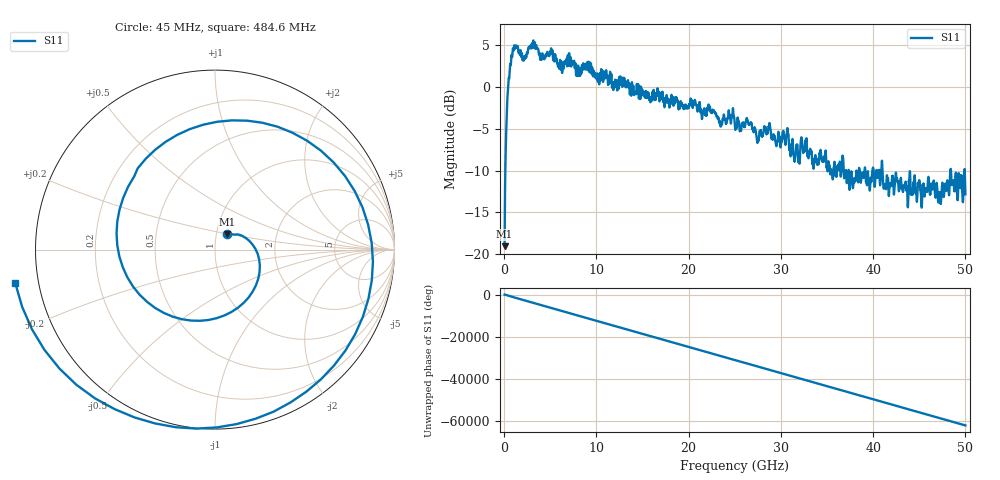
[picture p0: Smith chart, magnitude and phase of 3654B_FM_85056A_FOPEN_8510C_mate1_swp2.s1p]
!Created with skrf (http://scikit-rf.org).
# Hz S RI R 50.0
!freq ReS11 ImS11
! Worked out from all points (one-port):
!   10001 points, 45 MHz to 50 GHz, reference 50 ohm
!   lowest |S11| = -19.1 dB at 45 MHz (marker M1), VSWR 1.25, Z = 56.5 + j9.97 ohm
!   |S11| at or under -10 dB: 37.36 GHz to 38.45 GHz (1.092 GHz wide, 2.88 % of centre); 41.01 GHz to 48.37 GHz (7.367 GHz wide, 16.5 % of centre); 48.44 GHz to 49.89 GHz (1.451 GHz wide, 2.95 % of centre) (the widest 3 of 17)
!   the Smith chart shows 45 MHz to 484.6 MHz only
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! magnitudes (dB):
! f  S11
! 45 MHz  -19.1
! 314.8 MHz  -2.1
! 434.6 MHz  0.1
! 699.4 MHz  2.6
! 1.024 GHz  4.4
! 2.188 GHz  3.7
! 3.237 GHz  4.7
! 6.289 GHz  1.7
! 12.53 GHz  0.4
! 18.78 GHz  -1.8
! 25.02 GHz  -5.0
! 26.51 GHz  -4.4
! 27.51 GHz  -6.4
! 30.51 GHz  -6.8
! 31.27 GHz  -6.3
! 32.56 GHz  -7.7
! 33.61 GHz  -8.8
! 34.39 GHz  -8.6
! 35.51 GHz  -10.4
! 36.57 GHz  -10.1
! 37.51 GHz  -11.1
! 40.77 GHz  -11.6
! 41.28 GHz  -11.7
! 43.76 GHz  -14.4
! 46.46 GHz  -12.2
! 47.2 GHz  -12.6
! 48.52 GHz  -11.7
! 50 GHz  -12.9
